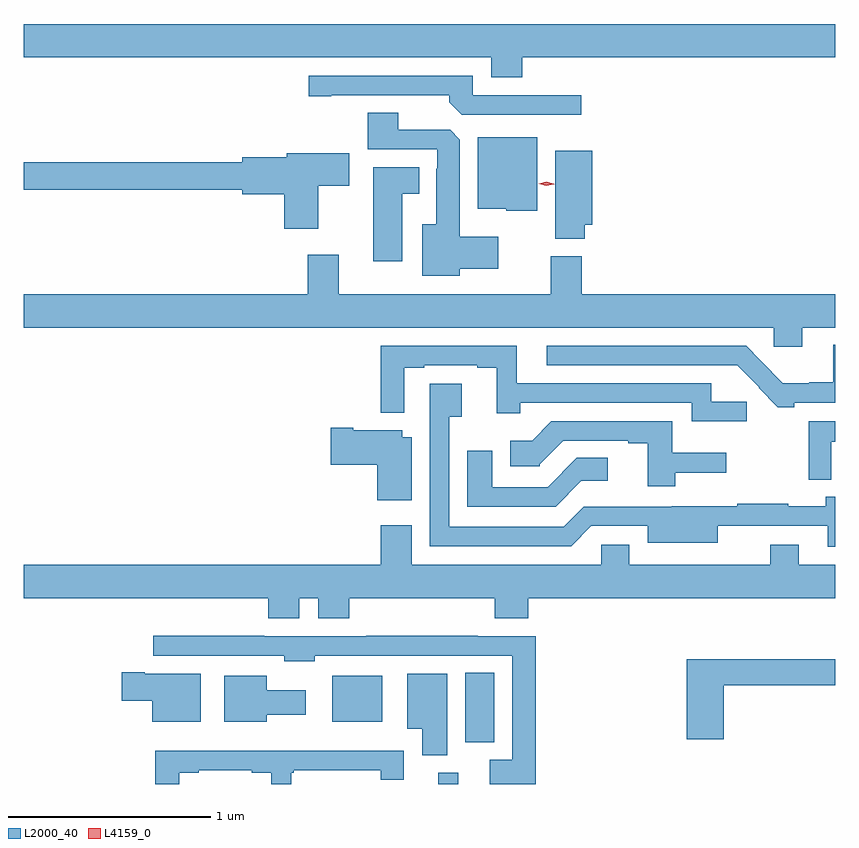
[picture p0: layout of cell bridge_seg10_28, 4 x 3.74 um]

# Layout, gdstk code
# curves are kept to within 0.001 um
import gdstk
lib = gdstk.Library(unit=1e-6, precision=1e-09)
def R(c, l, rs):  # rectangles x0, y0, x1, y1
    for r in rs: c.add(gdstk.rectangle(r[:2], r[2:], *l))
def P(c, l, *ps):  # polygons
    for p in ps: c.add(gdstk.Polygon(p, *l))
L2000_40 = (2000, 40)
L4159_0 = (4159, 0)

bridge_seg10_28 = lib.new_cell('bridge_seg10_28')
R(bridge_seg10_28, L2000_40, [(953.984,1263.436,954.082,1263.492), (954.116,1263.641,954.259,1263.983), (953.462,1263.743,953.707,1263.97)])
P(bridge_seg10_28, L2000_40, [(954.398,1267.016),(955.941,1267.016),(955.941,1267.18),(951.941,1267.18),(951.941,1267.016),(954.245,1267.016),(954.245,1266.917),(954.398,1266.917)],
  [(954.688,1266.828),(954.153,1266.828),(954.153,1266.924),(953.346,1266.924),(953.346,1266.823),(953.458,1266.823),(953.458,1266.828),(954.038,1266.828),(954.038,1266.794),(954.099,1266.732),(954.688,1266.732)],
  [(954.091,1265.975),(954.28,1265.975),(954.28,1266.133),(954.091,1266.133),(954.091,1266.611),(954.042,1266.66),(953.788,1266.66),(953.788,1266.743),(953.636,1266.743),(953.636,1266.564),(953.979,1266.564),(953.979,1266.467),(953.975,1266.467),(953.975,1266.193),(953.906,1266.193),(953.906,1265.939),(954.091,1265.939)],
  [(954.472,1266.622),(954.179,1266.622),(954.179,1266.269),(954.318,1266.269),(954.318,1266.26),(954.472,1266.26)],
  [(954.707,1266.191),(954.742,1266.191),(954.742,1266.556),(954.56,1266.556),(954.56,1266.121),(954.707,1266.121)],
  [(953.392,1266.382),(953.545,1266.382),(953.545,1266.544),(953.237,1266.544),(953.237,1266.524),(953.018,1266.524),(953.018,1266.5),(951.941,1266.5),(951.941,1266.364),(953.018,1266.364),(953.018,1266.341),(953.225,1266.341),(953.225,1266.171),(953.392,1266.171)],
  [(953.806,1266.344),(953.89,1266.344),(953.89,1266.475),(953.663,1266.475),(953.663,1266.012),(953.806,1266.012)],
  [(955.777,1265.684),(955.941,1265.684),(955.941,1265.848),(954.692,1265.848),(954.692,1266.036),(954.539,1266.036),(954.539,1265.848),(953.494,1265.848),(953.494,1266.043),(953.342,1266.043),(953.342,1265.848),(951.941,1265.848),(951.941,1265.684),(955.638,1265.684),(955.638,1265.589),(955.777,1265.589)],
  [(955.738,1265.313),(955.941,1265.313),(955.941,1265.599),(955.931,1265.599),(955.931,1265.414),(955.811,1265.414),(955.811,1265.41),(955.682,1265.41),(955.572,1265.52),(955.574,1265.522),(955.501,1265.595),(954.519,1265.595),(954.519,1265.499),(955.456,1265.498),(955.565,1265.39),(955.562,1265.387),(955.657,1265.291),(955.738,1265.291)],
  [(955.504,1265.319),(955.33,1265.319),(955.33,1265.409),(954.37,1265.409),(954.37,1265.595),(953.701,1265.595),(953.701,1265.264),(953.817,1265.264),(953.817,1265.487),(953.914,1265.487),(953.914,1265.499),(954.176,1265.499),(954.176,1265.487),(954.272,1265.487),(954.272,1265.262),(954.389,1265.262),(954.389,1265.313),(955.233,1265.313),(955.233,1265.222),(955.504,1265.222)],
  [(955.941,1264.851),(955.892,1264.851),(955.892,1264.804),(955.708,1264.804),(955.708,1264.816),(955.456,1264.816),(955.456,1264.804),(954.702,1264.803),(954.603,1264.704),(954.039,1264.704),(954.039,1265.246),(954.1,1265.246),(954.1,1265.407),(953.943,1265.407),(953.943,1264.608),(954.639,1264.608),(954.738,1264.707),(955.016,1264.707),(955.016,1264.625),(955.36,1264.625),(955.36,1264.707),(955.904,1264.707),(955.904,1264.605),(955.941,1264.605)],
  [(955.919,1265.122),(955.941,1265.122),(955.941,1265.223),(955.809,1265.223),(955.809,1264.936),(955.919,1264.936)],
  [(955.151,1264.97),(955.402,1264.97),(955.402,1265.068),(955.138,1265.068),(955.138,1265.223),(954.542,1265.223),(954.446,1265.127),(954.339,1265.127),(954.339,1265.001),(954.483,1265.001),(954.483,1265.01),(954.6,1265.127),(954.92,1265.127),(954.92,1265.115),(955.016,1265.115),(955.016,1264.902),(955.151,1264.902)],
  [(953.854,1265.143),(953.806,1265.143),(953.806,1265.179),(953.566,1265.179),(953.566,1265.192),(953.454,1265.192),(953.454,1265.009),(953.684,1265.009),(953.684,1264.835),(953.854,1264.835)],
  [(954.688,1264.929),(954.82,1264.929),(954.82,1265.042),(954.666,1265.042),(954.523,1264.899),(954.25,1264.899),(954.25,1265.077),(954.128,1265.077),(954.128,1264.803),(954.562,1264.803)],
  [(953.299,1264.352),(953.393,1264.352),(953.393,1264.253),(953.546,1264.253),(953.546,1264.352),(954.263,1264.352),(954.263,1264.253),(954.428,1264.253),(954.428,1264.352),(955.941,1264.352),(955.941,1264.516),(955.759,1264.516),(955.759,1264.615),(955.619,1264.615),(955.619,1264.516),(954.925,1264.516),(954.925,1264.614),(954.786,1264.614),(954.786,1264.516),(953.854,1264.516),(953.854,1264.711),(953.702,1264.711),(953.702,1264.516),(951.941,1264.516),(951.941,1264.352),(953.147,1264.352),(953.147,1264.253),(953.299,1264.253)],
  [(954.464,1264.164),(954.179,1264.164),(954.179,1264.166),(953.629,1264.166),(953.629,1264.164),(953.126,1264.164),(953.126,1264.166),(952.581,1264.166),(952.581,1264.068),(953.226,1264.068),(953.226,1264.04),(953.376,1264.04),(953.376,1264.068),(954.348,1264.068),(954.348,1263.556),(954.239,1263.556),(954.239,1263.436),(954.464,1263.436)],
  [(955.391,1263.922),(955.941,1263.922),(955.941,1264.051),(955.208,1264.051),(955.208,1263.657),(955.391,1263.657)],
  [(952.813,1263.979),(952.537,1263.979),(952.537,1263.987),(952.425,1263.987),(952.425,1263.845),(952.574,1263.845),(952.574,1263.743),(952.813,1263.743)],
  [(954.028,1263.979),(953.831,1263.979),(953.831,1263.707),(953.906,1263.707),(953.906,1263.577),(954.028,1263.577)],
  [(953.14,1263.776),(953.332,1263.776),(953.332,1263.898),(953.14,1263.898),(953.14,1263.97),(952.931,1263.97),(952.931,1263.743),(953.14,1263.743)],
  [(952.708,1263.492),(952.804,1263.492),(952.804,1263.504),(953.066,1263.504),(953.066,1263.492),(953.162,1263.492),(953.162,1263.436),(953.26,1263.436),(953.26,1263.492),(953.272,1263.492),(953.272,1263.503),(953.702,1263.503),(953.702,1263.457),(953.815,1263.457),(953.815,1263.601),(952.591,1263.601),(952.591,1263.436),(952.708,1263.436)])
P(bridge_seg10_28, L4159_0, [(954.517,1266.382),(954.479,1266.392),(954.479,1266.392),(954.479,1266.392),(954.517,1266.402),(954.554,1266.392),(954.555,1266.391),(954.554,1266.391)])

lib.write_gds('bridge_seg10_28.gds')
